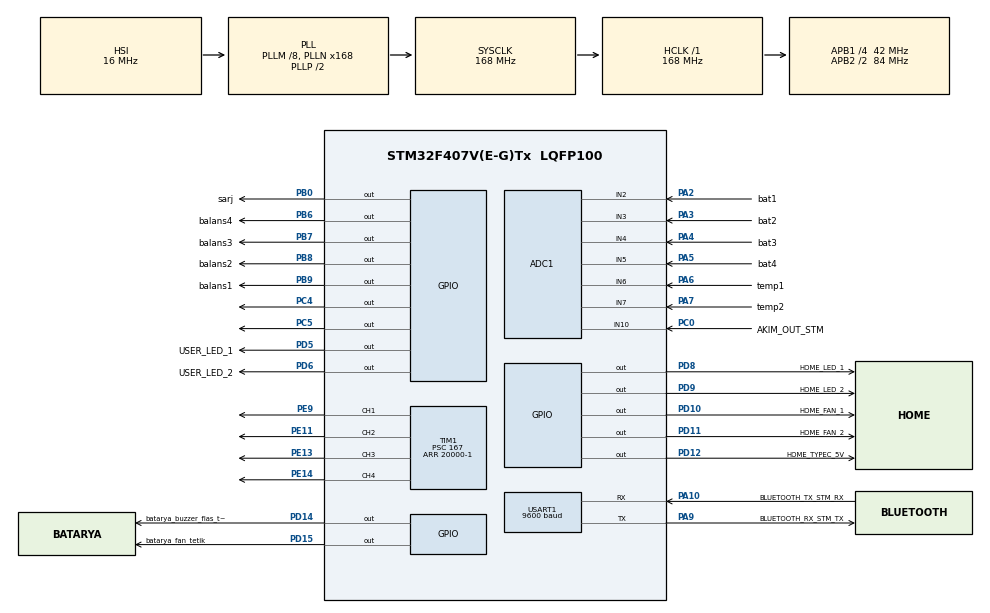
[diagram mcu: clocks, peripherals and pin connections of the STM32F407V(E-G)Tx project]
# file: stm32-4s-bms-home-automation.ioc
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ADC1.Channel-0\#ChannelRegularConversion=ADC_CHANNEL_2
ADC1.Channel-1\#ChannelRegularConversion=ADC_CHANNEL_3
ADC1.Channel-2\#ChannelRegularConversion=ADC_CHANNEL_4
ADC1.Channel-3\#ChannelRegularConversion=ADC_CHANNEL_5
ADC1.Channel-4\#ChannelRegularConversion=ADC_CHANNEL_6
ADC1.Channel-5\#ChannelRegularConversion=ADC_CHANNEL_7
ADC1.Channel-6\#ChannelRegularConversion=ADC_CHANNEL_10
ADC1.Channel-7\#ChannelRegularConversion=ADC_CHANNEL_VREFINT
ADC1.ContinuousConvMode=ENABLE
ADC1.DMAContinuousRequests=ENABLE
ADC1.NbrOfConversion=8
ADC1.NbrOfConversionFlag=1
ADC1.Rank-0\#ChannelRegularConversion=1
ADC1.Rank-1\#ChannelRegularConversion=2
ADC1.Rank-2\#ChannelRegularConversion=3
ADC1.Rank-3\#ChannelRegularConversion=4
ADC1.Rank-4\#ChannelRegularConversion=5
ADC1.Rank-5\#ChannelRegularConversion=6
ADC1.Rank-6\#ChannelRegularConversion=7
ADC1.Rank-7\#ChannelRegularConversion=8
ADC1.SamplingTime-0\#ChannelRegularConversion=ADC_SAMPLETIME_480CYCLES
ADC1.SamplingTime-1\#ChannelRegularConversion=ADC_SAMPLETIME_480CYCLES
ADC1.SamplingTime-2\#ChannelRegularConversion=ADC_SAMPLETIME_480CYCLES
ADC1.SamplingTime-3\#ChannelRegularConversion=ADC_SAMPLETIME_480CYCLES
ADC1.SamplingTime-4\#ChannelRegularConversion=ADC_SAMPLETIME_480CYCLES
ADC1.SamplingTime-5\#ChannelRegularConversion=ADC_SAMPLETIME_480CYCLES
ADC1.SamplingTime-6\#ChannelRegularConversion=ADC_SAMPLETIME_480CYCLES
ADC1.SamplingTime-7\#ChannelRegularConversion=ADC_SAMPLETIME_480CYCLES
ADC1.master=1
Dma.ADC1.0.Direction=DMA_PERIPH_TO_MEMORY
Dma.ADC1.0.FIFOMode=DMA_FIFOMODE_DISABLE
Dma.ADC1.0.Instance=DMA2_Stream0
Dma.ADC1.0.MemDataAlignment=DMA_MDATAALIGN_HALFWORD
Dma.ADC1.0.MemInc=DMA_MINC_ENABLE
Dma.ADC1.0.Mode=DMA_CIRCULAR
Dma.ADC1.0.PeriphDataAlignment=DMA_PDATAALIGN_HALFWORD
Dma.ADC1.0.PeriphInc=DMA_PINC_DISABLE
Dma.ADC1.0.Priority=DMA_PRIORITY_LOW
Dma.Request0=ADC1
Mcu.Family=STM32F4
Mcu.Name=STM32F407V(E-G)Tx
Mcu.Package=LQFP100
NVIC.DMA2_Stream0_IRQn=true\:0\:0\:false\:false\:true\:false\:true\:true
NVIC.PriorityGroup=NVIC_PRIORITYGROUP_4
NVIC.USART1_IRQn=true\:0\:0\:false\:false\:true\:true\:true\:true
PA10.GPIO_Label=BLUETOOTH_TX_STM_RX
PA10.Mode=Asynchronous
PA10.Signal=USART1_RX
PA2.GPIO_Label=bat1
PA2.Signal=ADCx_IN2
PA3.GPIO_Label=bat2
PA3.Signal=ADCx_IN3
PA4.GPIO_Label=bat3
PA4.Signal=ADCx_IN4
PA5.GPIO_Label=bat4
PA5.Signal=ADCx_IN5
PA6.GPIO_Label=temp1
PA6.Signal=ADCx_IN6
PA7.GPIO_Label=temp2
PA7.Signal=ADCx_IN7
PA9.GPIO_Label=BLUETOOTH_RX_STM_TX
PA9.Mode=Asynchronous
PA9.Signal=USART1_TX
PB0.GPIO_Label=sarj
PB0.Signal=GPIO_Output
PB6.GPIO_Label=balans4
PB6.Signal=GPIO_Output
PB7.GPIO_Label=balans3
PB7.Signal=GPIO_Output
PB8.GPIO_Label=balans2
PB8.Signal=GPIO_Output
PB9.GPIO_Label=balans1
PB9.Signal=GPIO_Output
PC0.GPIO_Label=AKIM_OUT_STM
PC0.Signal=ADCx_IN10
PC4.Signal=GPIO_Output
PC5.Signal=GPIO_Output
PD10.GPIO_Label=HOME_FAN_1
PD10.Signal=GPIO_Output
PD11.GPIO_Label=HOME_FAN_2
PD11.Signal=GPIO_Output
PD12.GPIO_Label=HOME_TYPEC_5V
PD12.Signal=GPIO_Output
PD14.GPIO_Label=batarya_buzzer_flas_tetik
PD14.Signal=GPIO_Output
PD15.GPIO_Label=batarya_fan_tetik
PD15.Signal=GPIO_Output
PD5.GPIO_Label=USER_LED_1
PD5.Signal=GPIO_Output
PD6.GPIO_Label=USER_LED_2
PD6.Signal=GPIO_Output
PD8.GPIO_Label=HOME_LED_1
PD8.Signal=GPIO_Output
PD9.GPIO_Label=HOME_LED_2
PD9.Signal=GPIO_Output
PE11.Signal=S_TIM1_CH2
PE13.Signal=S_TIM1_CH3
PE14.Signal=S_TIM1_CH4
PE9.Signal=S_TIM1_CH1
PH0-OSC_IN.Mode=HSE-External-Oscillator
PH0-OSC_IN.Signal=RCC_OSC_IN
PH1-OSC_OUT.Mode=HSE-External-Oscillator
PH1-OSC_OUT.Signal=RCC_OSC_OUT
ProjectManager.HeapSize=0x200
ProjectManager.StackSize=0x400
ProjectManager.TargetToolchain=STM32CubeIDE
RCC.48MHZClocksFreq_Value=84000000
RCC.AHBFreq_Value=168000000
RCC.APB1CLKDivider=RCC_HCLK_DIV4
RCC.APB1Freq_Value=42000000
RCC.APB1TimFreq_Value=84000000
RCC.APB2CLKDivider=RCC_HCLK_DIV2
RCC.APB2Freq_Value=84000000
RCC.APB2TimFreq_Value=168000000
RCC.CortexFreq_Value=168000000
RCC.HCLKFreq_Value=168000000
RCC.HSE_VALUE=25000000
RCC.HSI_VALUE=16000000
RCC.LSE_VALUE=32768
RCC.PLLM=8
RCC.PLLN=168
RCC.SYSCLKFreq_VALUE=168000000
RCC.SYSCLKSource=RCC_SYSCLKSOURCE_PLLCLK
RCC.VCOOutputFreq_Value=336000000
SH.ADCx_IN10.0=ADC1_IN10,IN10
SH.ADCx_IN2.0=ADC1_IN2,IN2
SH.ADCx_IN3.0=ADC1_IN3,IN3
SH.ADCx_IN4.0=ADC1_IN4,IN4
SH.ADCx_IN5.0=ADC1_IN5,IN5
SH.ADCx_IN6.0=ADC1_IN6,IN6
SH.ADCx_IN7.0=ADC1_IN7,IN7
SH.S_TIM1_CH1.0=TIM1_CH1,PWM Generation1 CH1
SH.S_TIM1_CH2.0=TIM1_CH2,PWM Generation2 CH2
SH.S_TIM1_CH3.0=TIM1_CH3,PWM Generation3 CH3
SH.S_TIM1_CH4.0=TIM1_CH4,PWM Generation4 CH4
TIM1.Channel-PWM\ Generation1\ CH1=TIM_CHANNEL_1
TIM1.Channel-PWM\ Generation2\ CH2=TIM_CHANNEL_2
TIM1.Channel-PWM\ Generation3\ CH3=TIM_CHANNEL_3
TIM1.Channel-PWM\ Generation4\ CH4=TIM_CHANNEL_4
TIM1.Period=20000-1
TIM1.Prescaler=167
USART1.BaudRate=9600
USART1.VirtualMode=VM_ASYNC
VP_ADC1_Vref_Input.Mode=IN-Vrefint
board=custom

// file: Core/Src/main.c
/* USER CODE BEGIN Header */
/**
  ******************************************************************************
  * @file           : main.c
  * @brief          : Main program body
  * @author         : M. Eyub Can, TECH-OHM (https://tech-ohm.com)
  ******************************************************************************
  * @attention
  *
  * Copyright (c) 2026 STMicroelectronics.
  * All rights reserved.
  *
  * This software is licensed under terms that can be found in the LICENSE file
  * in the root directory of this software component.
  * If no LICENSE file comes with this software, it is provided AS-IS.
  *
  ******************************************************************************
  */
/* USER CODE END Header */
#include "main.h"

/* USER CODE BEGIN Includes */

#include "adc_read.h"
#include "protection.h"
#include "balance.h"
#include "bluetooth.h"
/* USER CODE END Includes */

/* USER CODE BEGIN PTD */
typedef struct { GPIO_TypeDef *port; uint16_t pin; const char *name; } RelayCh;
typedef struct { uint32_t channel; const char *name; } ServoCh;
/* USER CODE END PTD */

/* USER CODE BEGIN PD */
#define SERVO_0_DEG       1000
#define SERVO_90_DEG      1500
#define SERVO_180_DEG     2000
#define RELAY_ACTIVE_LOW  0
/* USER CODE END PD */

ADC_HandleTypeDef hadc1;
DMA_HandleTypeDef hdma_adc1;

TIM_HandleTypeDef htim1;

UART_HandleTypeDef huart1;

void SystemClock_Config(void);
static void MX_GPIO_Init(void);
static void MX_DMA_Init(void);
static void MX_ADC1_Init(void);
static void MX_USART1_UART_Init(void);
static void MX_TIM1_Init(void);
/* USER CODE BEGIN PFP */
/* Outputs controlled from the app. The battery fan (PD14), buzzer (PD15) and
 * user LEDs (PD5/PD6) are not here. Thermal_Update handles those. */
RelayCh relays[] = {
    { GPIOD, GPIO_PIN_8,  "HOME_FAN_2"    },
    { GPIOD, GPIO_PIN_9,  "HOME_TYPEC_5V" },  /* USB socket */
    { GPIOD, GPIO_PIN_10, "HOME_FAN_1"    },
    { GPIOD, GPIO_PIN_11, "HOME_LED_2"    },
    { GPIOD, GPIO_PIN_12, "HOME_LED_1"    },
    { GPIOB, GPIO_PIN_0,  "CHARGE"          },
    { GPIOB, GPIO_PIN_9,  "BALANCE_1"      },
    { GPIOB, GPIO_PIN_8,  "BALANCE_2"      },
    { GPIOB, GPIO_PIN_7,  "BALANCE_3"      },
    { GPIOB, GPIO_PIN_6,  "BALANCE_4"      },
};
#define RELAY_COUNT (sizeof(relays) / sizeof(relays[0]))

ServoCh servos[] = {
    { TIM_CHANNEL_1, "SERVO_1_PE9"  },
    { TIM_CHANNEL_2, "SERVO_2_PE11" },
    { TIM_CHANNEL_3, "SERVO_3_PE13" },
    { TIM_CHANNEL_4, "SERVO_4_PE14" },
};
#define SERVO_COUNT (sizeof(servos) / sizeof(servos[0]))
/* USER CODE END PV */

void SystemClock_Config(void);
static void MX_GPIO_Init(void);
static void MX_DMA_Init(void);
static void MX_ADC1_Init(void);
static void MX_TIM1_Init(void);

/* USER CODE BEGIN 0 */

/* USER CODE END PFP */

/* USER CODE BEGIN 0 */
static void relay_write(const RelayCh *r, uint8_t on)
{
#if RELAY_ACTIVE_LOW
    HAL_GPIO_WritePin(r->port, r->pin, on ? GPIO_PIN_RESET : GPIO_PIN_SET);
#else
    HAL_GPIO_WritePin(r->port, r->pin, on ? GPIO_PIN_SET : GPIO_PIN_RESET);
#endif
}
static void relay_all_off(void)
{
    for (uint32_t i = 0; i < RELAY_COUNT; i++) relay_write(&relays[i], 0);
}
static void servo_set_us(uint32_t channel, uint16_t pulse_us)
{
    __HAL_TIM_SET_COMPARE(&htim1, channel, pulse_us);
}
static void servo_start_all(void)
{
    for (uint32_t i = 0; i < SERVO_COUNT; i++) {
        HAL_TIM_PWM_Start(&htim1, servos[i].channel);
        servo_set_us(servos[i].channel, SERVO_0_DEG);
    }
}
/* USER CODE END PFP */

/* Private user code ---------------------------------------------------------*/
/* USER CODE BEGIN 0 */

/* USER CODE END PFP */

/* Private user code ---------------------------------------------------------*/
/* USER CODE BEGIN 0 */

/* USER CODE END 0 */

int main(void)
{

  /* MCU Configuration--------------------------------------------------------*/

  /* Reset of all peripherals, Initializes the Flash interface and the Systick. */
  HAL_Init();

  /* Configure the system clock */
  SystemClock_Config();

  /* Initialize all configured peripherals */
  MX_GPIO_Init();
  MX_DMA_Init();
  MX_ADC1_Init();
  MX_USART1_UART_Init();
  MX_TIM1_Init();
  /* USER CODE BEGIN 2 */
  relay_all_off();
  servo_start_all();
  ADC_Filter_Start(&hadc1);
  HAL_Delay(100);
  ADC_CalibrateACSZero();        /* calibrate at zero current (no load) */

  BT_Init(&huart1);
  /* USER CODE END 2 */

  /* Infinite loop */
  while (1)
  {

    /* USER CODE BEGIN 3 */
	  Energy_Update();
	  Thermal_Update();
	  Balance_Update();

	     /* Bluetooth: send telemetry every 500 ms */
	     static uint32_t last_tx = 0;
	     if (HAL_GetTick() - last_tx >= 500) {
	         last_tx = HAL_GetTick();
	         BT_SendTelemetry();
	     }

	     HAL_Delay(10);

  }
  /* USER CODE END 3 */
}

void SystemClock_Config(void)
{
  RCC_OscInitTypeDef RCC_OscInitStruct = {0};
  RCC_ClkInitTypeDef RCC_ClkInitStruct = {0};

  /** Configure the main internal regulator output voltage
  */
  __HAL_RCC_PWR_CLK_ENABLE();
  __HAL_PWR_VOLTAGESCALING_CONFIG(PWR_REGULATOR_VOLTAGE_SCALE1);

  /** Initializes the RCC Oscillators according to the specified parameters
  * in the RCC_OscInitTypeDef structure.
  */
  RCC_OscInitStruct.OscillatorType = RCC_OSCILLATORTYPE_HSI;
  RCC_OscInitStruct.HSIState = RCC_HSI_ON;
  RCC_OscInitStruct.HSICalibrationValue = RCC_HSICALIBRATION_DEFAULT;
  RCC_OscInitStruct.PLL.PLLState = RCC_PLL_ON;
  RCC_OscInitStruct.PLL.PLLSource = RCC_PLLSOURCE_HSI;
  RCC_OscInitStruct.PLL.PLLM = 8;
  RCC_OscInitStruct.PLL.PLLN = 168;
  RCC_OscInitStruct.PLL.PLLP = RCC_PLLP_DIV2;
  RCC_OscInitStruct.PLL.PLLQ = 4;
  if (HAL_RCC_OscConfig(&RCC_OscInitStruct) != HAL_OK)
  {
    Error_Handler();
  }

  /** Initializes the CPU, AHB and APB buses clocks
  */
  RCC_ClkInitStruct.ClockType = RCC_CLOCKTYPE_HCLK|RCC_CLOCKTYPE_SYSCLK
                              |RCC_CLOCKTYPE_PCLK1|RCC_CLOCKTYPE_PCLK2;
  RCC_ClkInitStruct.SYSCLKSource = RCC_SYSCLKSOURCE_PLLCLK;
  RCC_ClkInitStruct.AHBCLKDivider = RCC_SYSCLK_DIV1;
  RCC_ClkInitStruct.APB1CLKDivider = RCC_HCLK_DIV4;
  RCC_ClkInitStruct.APB2CLKDivider = RCC_HCLK_DIV2;

  if (HAL_RCC_ClockConfig(&RCC_ClkInitStruct, FLASH_LATENCY_5) != HAL_OK)
  {
    Error_Handler();
  }
}

static void MX_ADC1_Init(void)
{

  ADC_ChannelConfTypeDef sConfig = {0};

  /** Configure the global features of the ADC (Clock, Resolution, Data Alignment and number of conversion)
  */
  hadc1.Instance = ADC1;
  hadc1.Init.ClockPrescaler = ADC_CLOCK_SYNC_PCLK_DIV4;
  hadc1.Init.Resolution = ADC_RESOLUTION_12B;
  hadc1.Init.ScanConvMode = ENABLE;
  hadc1.Init.ContinuousConvMode = ENABLE;
  hadc1.Init.DiscontinuousConvMode = DISABLE;
  hadc1.Init.ExternalTrigConvEdge = ADC_EXTERNALTRIGCONVEDGE_NONE;
  hadc1.Init.ExternalTrigConv = ADC_SOFTWARE_START;
  hadc1.Init.DataAlign = ADC_DATAALIGN_RIGHT;
  hadc1.Init.NbrOfConversion = 8;
  hadc1.Init.DMAContinuousRequests = ENABLE;
  hadc1.Init.EOCSelection = ADC_EOC_SINGLE_CONV;
  if (HAL_ADC_Init(&hadc1) != HAL_OK)
  {
    Error_Handler();
  }

  /** Configure for the selected ADC regular channel its corresponding rank in the sequencer and its sample time.
  */
  sConfig.Channel = ADC_CHANNEL_2;
  sConfig.Rank = 1;
  sConfig.SamplingTime = ADC_SAMPLETIME_480CYCLES;
  if (HAL_ADC_ConfigChannel(&hadc1, &sConfig) != HAL_OK)
  {
    Error_Handler();
  }

  /** Configure for the selected ADC regular channel its corresponding rank in the sequencer and its sample time.
  */
  sConfig.Channel = ADC_CHANNEL_3;
  sConfig.Rank = 2;
  if (HAL_ADC_ConfigChannel(&hadc1, &sConfig) != HAL_OK)
  {
    Error_Handler();
  }

  /** Configure for the selected ADC regular channel its corresponding rank in the sequencer and its sample time.
  */
  sConfig.Channel = ADC_CHANNEL_4;
  sConfig.Rank = 3;
  if (HAL_ADC_ConfigChannel(&hadc1, &sConfig) != HAL_OK)
  {
    Error_Handler();
  }

  /** Configure for the selected ADC regular channel its corresponding rank in the sequencer and its sample time.
  */
  sConfig.Channel = ADC_CHANNEL_5;
  sConfig.Rank = 4;
  if (HAL_ADC_ConfigChannel(&hadc1, &sConfig) != HAL_OK)
  {
    Error_Handler();
  }

  /** Configure for the selected ADC regular channel its corresponding rank in the sequencer and its sample time.
  */
  sConfig.Channel = ADC_CHANNEL_6;
  sConfig.Rank = 5;
  if (HAL_ADC_ConfigChannel(&hadc1, &sConfig) != HAL_OK)
  {
    Error_Handler();
  }

  /** Configure for the selected ADC regular channel its corresponding rank in the sequencer and its sample time.
  */
  sConfig.Channel = ADC_CHANNEL_7;
  sConfig.Rank = 6;
  if (HAL_ADC_ConfigChannel(&hadc1, &sConfig) != HAL_OK)
  {
    Error_Handler();
  }

  /** Configure for the selected ADC regular channel its corresponding rank in the sequencer and its sample time.
  */
  sConfig.Channel = ADC_CHANNEL_10;
  sConfig.Rank = 7;
  if (HAL_ADC_ConfigChannel(&hadc1, &sConfig) != HAL_OK)
  {
    Error_Handler();
  }

  /** Configure for the selected ADC regular channel its corresponding rank in the sequencer and its sample time.
  */
  sConfig.Channel = ADC_CHANNEL_VREFINT;
  sConfig.Rank = 8;
  if (HAL_ADC_ConfigChannel(&hadc1, &sConfig) != HAL_OK)
  {
    Error_Handler();
  }

}

static void MX_TIM1_Init(void)
{

  TIM_MasterConfigTypeDef sMasterConfig = {0};
  TIM_OC_InitTypeDef sConfigOC = {0};
  TIM_BreakDeadTimeConfigTypeDef sBreakDeadTimeConfig = {0};

  htim1.Instance = TIM1;
  htim1.Init.Prescaler = 167;
  htim1.Init.CounterMode = TIM_COUNTERMODE_UP;
  htim1.Init.Period = 20000-1;
  htim1.Init.ClockDivision = TIM_CLOCKDIVISION_DIV1;
  htim1.Init.RepetitionCounter = 0;
  htim1.Init.AutoReloadPreload = TIM_AUTORELOAD_PRELOAD_DISABLE;
  if (HAL_TIM_PWM_Init(&htim1) != HAL_OK)
  {
    Error_Handler();
  }
  sMasterConfig.MasterOutputTrigger = TIM_TRGO_RESET;
  sMasterConfig.MasterSlaveMode = TIM_MASTERSLAVEMODE_DISABLE;
  if (HAL_TIMEx_MasterConfigSynchronization(&htim1, &sMasterConfig) != HAL_OK)
  {
    Error_Handler();
  }
  sConfigOC.OCMode = TIM_OCMODE_PWM1;
  sConfigOC.Pulse = 0;
  sConfigOC.OCPolarity = TIM_OCPOLARITY_HIGH;
  sConfigOC.OCNPolarity = TIM_OCNPOLARITY_HIGH;
  sConfigOC.OCFastMode = TIM_OCFAST_DISABLE;
  sConfigOC.OCIdleState = TIM_OCIDLESTATE_RESET;
  sConfigOC.OCNIdleState = TIM_OCNIDLESTATE_RESET;
  if (HAL_TIM_PWM_ConfigChannel(&htim1, &sConfigOC, TIM_CHANNEL_1) != HAL_OK)
  {
    Error_Handler();
  }
  if (HAL_TIM_PWM_ConfigChannel(&htim1, &sConfigOC, TIM_CHANNEL_2) != HAL_OK)
  {
    Error_Handler();
  }
  if (HAL_TIM_PWM_ConfigChannel(&htim1, &sConfigOC, TIM_CHANNEL_3) != HAL_OK)
  {
    Error_Handler();
  }
  if (HAL_TIM_PWM_ConfigChannel(&htim1, &sConfigOC, TIM_CHANNEL_4) != HAL_OK)
  {
    Error_Handler();
  }
  sBreakDeadTimeConfig.OffStateRunMode = TIM_OSSR_DISABLE;
  sBreakDeadTimeConfig.OffStateIDLEMode = TIM_OSSI_DISABLE;
  sBreakDeadTimeConfig.LockLevel = TIM_LOCKLEVEL_OFF;
  sBreakDeadTimeConfig.DeadTime = 0;
  sBreakDeadTimeConfig.BreakState = TIM_BREAK_DISABLE;
  sBreakDeadTimeConfig.BreakPolarity = TIM_BREAKPOLARITY_HIGH;
  sBreakDeadTimeConfig.AutomaticOutput = TIM_AUTOMATICOUTPUT_DISABLE;
  if (HAL_TIMEx_ConfigBreakDeadTime(&htim1, &sBreakDeadTimeConfig) != HAL_OK)
  {
    Error_Handler();
  }
  HAL_TIM_MspPostInit(&htim1);

}

static void MX_USART1_UART_Init(void)
{

  huart1.Instance = USART1;
  huart1.Init.BaudRate = 9600;
  huart1.Init.WordLength = UART_WORDLENGTH_8B;
  huart1.Init.StopBits = UART_STOPBITS_1;
  huart1.Init.Parity = UART_PARITY_NONE;
  huart1.Init.Mode = UART_MODE_TX_RX;
  huart1.Init.HwFlowCtl = UART_HWCONTROL_NONE;
  huart1.Init.OverSampling = UART_OVERSAMPLING_16;
  if (HAL_UART_Init(&huart1) != HAL_OK)
  {
    Error_Handler();
  }

}

static void MX_DMA_Init(void)
{

  /* DMA controller clock enable */
  __HAL_RCC_DMA2_CLK_ENABLE();

  /* DMA interrupt init */
  /* DMA2_Stream0_IRQn interrupt configuration */
  HAL_NVIC_SetPriority(DMA2_Stream0_IRQn, 0, 0);
  HAL_NVIC_EnableIRQ(DMA2_Stream0_IRQn);

}

static void MX_GPIO_Init(void)
{
  GPIO_InitTypeDef GPIO_InitStruct = {0};

  /* GPIO Ports Clock Enable */
  __HAL_RCC_GPIOH_CLK_ENABLE();
  __HAL_RCC_GPIOC_CLK_ENABLE();
  __HAL_RCC_GPIOA_CLK_ENABLE();
  __HAL_RCC_GPIOB_CLK_ENABLE();
  __HAL_RCC_GPIOE_CLK_ENABLE();
  __HAL_RCC_GPIOD_CLK_ENABLE();

  /*Configure GPIO pin Output Level */
  HAL_GPIO_WritePin(GPIOC, GPIO_PIN_4|GPIO_PIN_5, GPIO_PIN_RESET);

  /*Configure GPIO pin Output Level */
  HAL_GPIO_WritePin(GPIOB, sarj_Pin|balans4_Pin|balans3_Pin|balans2_Pin
                          |balans1_Pin, GPIO_PIN_RESET);

  /*Configure GPIO pin Output Level */
  HAL_GPIO_WritePin(GPIOD, HOME_LED_1_Pin|HOME_LED_2_Pin|HOME_FAN_1_Pin|HOME_FAN_2_Pin
                          |HOME_TYPEC_5V_Pin|batarya_buzzer_flas_tetik_Pin|batarya_fan_tetik_Pin|USER_LED_1_Pin
                          |USER_LED_2_Pin, GPIO_PIN_RESET);

  /*Configure GPIO pins : PC4 PC5 */
  GPIO_InitStruct.Pin = GPIO_PIN_4|GPIO_PIN_5;
  GPIO_InitStruct.Mode = GPIO_MODE_OUTPUT_PP;
  GPIO_InitStruct.Pull = GPIO_NOPULL;
  GPIO_InitStruct.Speed = GPIO_SPEED_FREQ_LOW;
  HAL_GPIO_Init(GPIOC, &GPIO_InitStruct);

  /*Configure GPIO pins : sarj_Pin balans4_Pin balans3_Pin balans2_Pin
                           balans1_Pin */
  GPIO_InitStruct.Pin = sarj_Pin|balans4_Pin|balans3_Pin|balans2_Pin
                          |balans1_Pin;
  GPIO_InitStruct.Mode = GPIO_MODE_OUTPUT_PP;
  GPIO_InitStruct.Pull = GPIO_NOPULL;
  GPIO_InitStruct.Speed = GPIO_SPEED_FREQ_LOW;
  HAL_GPIO_Init(GPIOB, &GPIO_InitStruct);

  /*Configure GPIO pins : HOME_LED_1_Pin HOME_LED_2_Pin HOME_FAN_1_Pin HOME_FAN_2_Pin
                           HOME_TYPEC_5V_Pin batarya_buzzer_flas_tetik_Pin batarya_fan_tetik_Pin USER_LED_1_Pin
                           USER_LED_2_Pin */
  GPIO_InitStruct.Pin = HOME_LED_1_Pin|HOME_LED_2_Pin|HOME_FAN_1_Pin|HOME_FAN_2_Pin
                          |HOME_TYPEC_5V_Pin|batarya_buzzer_flas_tetik_Pin|batarya_fan_tetik_Pin|USER_LED_1_Pin
                          |USER_LED_2_Pin;
  GPIO_InitStruct.Mode = GPIO_MODE_OUTPUT_PP;
  GPIO_InitStruct.Pull = GPIO_NOPULL;
  GPIO_InitStruct.Speed = GPIO_SPEED_FREQ_LOW;
  HAL_GPIO_Init(GPIOD, &GPIO_InitStruct);

}

void Error_Handler(void)
{
  __disable_irq();
  while (1)
  {
  }
}
